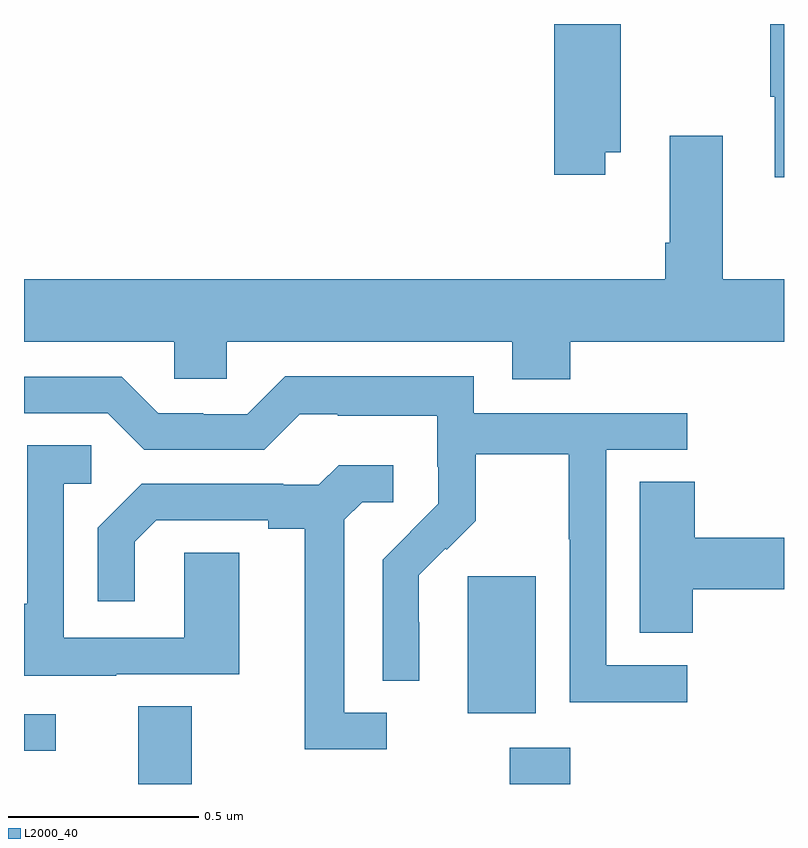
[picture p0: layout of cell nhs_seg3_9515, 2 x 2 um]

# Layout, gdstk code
import gdstk
lib = gdstk.Library(unit=1e-6, precision=1e-09)
def R(c, l, rs):  # rectangles x0, y0, x1, y1
    for r in rs: c.add(gdstk.rectangle(r[:2], r[2:], *l))
def P(c, l, *ps):  # polygons
    for p in ps: c.add(gdstk.Polygon(p, *l))
L2000_40 = (2000, 40)

nhs_seg3_9515 = lib.new_cell('nhs_seg3_9515')
R(nhs_seg3_9515, L2000_40, [(229.301,718.4,229.441,718.604), (230.278,718.4,230.438,718.495), (229,718.488,229.084,718.584), (230.168,718.586,230.347,718.947)])
P(nhs_seg3_9515, L2000_40, [(230.53,720.062),(230.571,720.062),(230.571,720.4),(230.396,720.4),(230.396,720.003),(230.53,720.003)],
  [(231,720.4),(230.964,720.4),(230.964,720.209),(230.975,720.209),(230.975,719.997),(231,719.997)],
  [(230.438,719.564),(231,719.564),(231,719.728),(230.839,719.728),(230.839,720.106),(230.699,720.106),(230.699,719.824),(230.687,719.824),(230.687,719.728),(229,719.728),(229,719.564),(229.395,719.564),(229.395,719.466),(229.533,719.466),(229.533,719.564),(230.285,719.564),(230.285,719.465),(230.438,719.465)],
  [(230.746,718.713),(230.532,718.713),(230.532,719.28),(230.746,719.28),(230.746,719.376),(230.184,719.376),(230.184,719.473),(229.687,719.473),(229.587,719.373),(229.472,719.373),(229.472,719.376),(229.353,719.376),(229.257,719.472),(229,719.472),(229,719.376),(229.221,719.376),(229.317,719.28),(229.632,719.28),(229.725,719.373),(229.825,719.373),(229.825,719.369),(230.088,719.369),(230.088,719.235),(230.09,719.235),(230.09,719.138),(230.016,719.064),(230.017,719.063),(229.944,718.99),(229.944,718.672),(230.04,718.672),(230.04,718.826),(230.039,718.826),(230.039,718.949),(230.109,719.019),(230.112,719.016),(230.189,719.093),(230.189,719.268),(230.434,719.268),(230.434,719.044),(230.436,719.044),(230.436,718.615),(230.746,718.615)],
  [(229.243,718.689),(229.567,718.689),(229.567,719.009),(229.422,719.009),(229.422,718.785),(229.104,718.785),(229.104,719.19),(229.177,719.19),(229.177,719.291),(229.008,719.291),(229.008,718.875),(229,718.875),(229,718.685),(229.243,718.685)],
  [(229.954,718.587),(229.843,718.587),(229.843,719.095),(229.89,719.142),(229.972,719.142),(229.972,719.239),(229.828,719.239),(229.776,719.187),(229.682,719.187),(229.682,719.19),(229.31,719.19),(229.194,719.074),(229.194,718.881),(229.291,718.881),(229.291,719.037),(229.348,719.094),(229.643,719.094),(229.643,719.072),(229.739,719.072),(229.739,718.491),(229.954,718.491)],
  [(230.76,718.912),(231,718.912),(231,719.048),(230.765,719.048),(230.765,719.195),(230.621,719.195),(230.621,718.798),(230.76,718.798)])

lib.write_gds('nhs_seg3_9515.gds')
